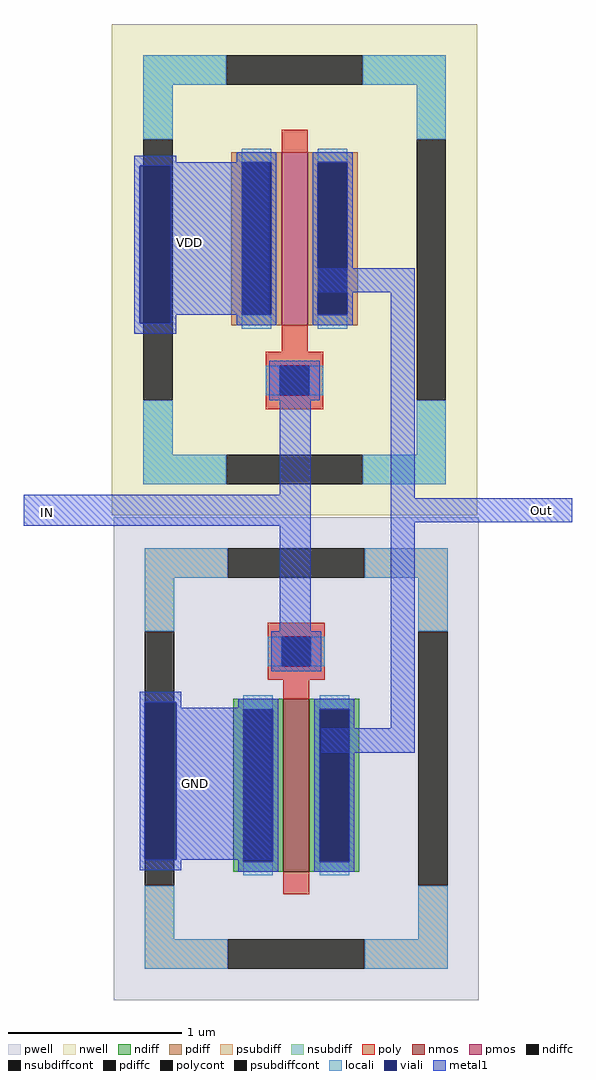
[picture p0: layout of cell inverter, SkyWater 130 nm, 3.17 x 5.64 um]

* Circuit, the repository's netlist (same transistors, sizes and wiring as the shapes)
** sch_path: /home/chandra_hartono/project/inverter/inverter.sch
.subckt inverter VDD in out gnd
*.PININFO in:I out:O VDD:B gnd:B
XM1 out in gnd gnd sky130_fd_pr__nfet_01v8 L=0.15 W=1 nf=1 m=1
XM2 out in VDD VDD sky130_fd_pr__pfet_01v8 L=0.15 W=1 nf=1 m=1
.ends
.end

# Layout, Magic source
magic
tech sky130A
magscale 1 2
<< viali >>
rect 366 1028 402 1210
rect 372 408 408 590
<< metal1 >>
rect 360 1214 408 1222
rect 360 1210 516 1214
rect 360 1028 366 1210
rect 402 1038 516 1210
rect 572 1064 684 1092
rect 402 1028 408 1038
rect 360 1016 408 1028
rect 528 830 564 980
rect 232 794 564 830
rect 528 632 564 794
rect 656 826 684 1064
rect 656 798 866 826
rect 366 590 414 602
rect 366 408 372 590
rect 408 584 414 590
rect 408 408 518 584
rect 656 560 684 798
rect 576 532 684 560
rect 366 396 414 408
use sky130_fd_pr__nfet_01v8_64Z3AY  XM1
transform 1 0 547 0 1 525
box -211 -279 211 279
use sky130_fd_pr__pfet_01v8_LGS3BL  XM2
transform 1 0 545 0 1 1090
box -211 -284 211 284
<< labels >>
flabel metal1 424 1120 424 1122 0 FreeSans 80 0 0 0 VDD
port 0 nsew
flabel metal1 430 496 430 496 0 FreeSans 80 0 0 0 GND
port 1 nsew
flabel metal1 260 810 260 810 0 FreeSans 80 0 0 0 IN
port 2 nsew
flabel metal1 830 812 830 812 0 FreeSans 80 0 0 0 Out
port 3 nsew
<< end >>

# cell sky130_fd_pr__nfet_01v8_64Z3AY: kit device sky130_fd_pr__nfet_01v8, w 1.0 l 0.15 m 1 nf 1 diffcov 100 polycov 100 guard 1 glc 1 grc 1 gtc 1 gbc 1 tbcov 100 rlcov 100 topc 1 botc 0 poverlap 0 doverlap 1 lmin 0.15 wmin 0.42 compatible {sky130_fd_pr__nfet_01v8 sky130_fd_pr__nfet_01v8_lvt sky130_fd_bs_flash__special_sonosfet_star sky130_fd_pr__nfet_g5v0d10v5 sky130_fd_pr__nfet_05v0_nvt sky130_fd_pr__nfet_03v3_nvt} full_metal 1 viasrc 100 viadrn 100 viagate 100 viagb 0 viagr 0 viagl 0 viagt 0

# cell sky130_fd_pr__pfet_01v8_LGS3BL: kit device sky130_fd_pr__pfet_01v8, w 1.0 l 0.15 m 1 nf 1 diffcov 100 polycov 100 guard 1 glc 1 grc 1 gtc 1 gbc 1 tbcov 100 rlcov 100 topc 0 botc 1 poverlap 0 doverlap 1 lmin 0.15 wmin 0.42 compatible {sky130_fd_pr__pfet_01v8 sky130_fd_pr__pfet_01v8_lvt sky130_fd_pr__pfet_01v8_hvt sky130_fd_pr__pfet_g5v0d10v5} full_metal 1 viasrc 100 viadrn 100 viagate 100 viagb 0 viagr 0 viagl 0 viagt 0
